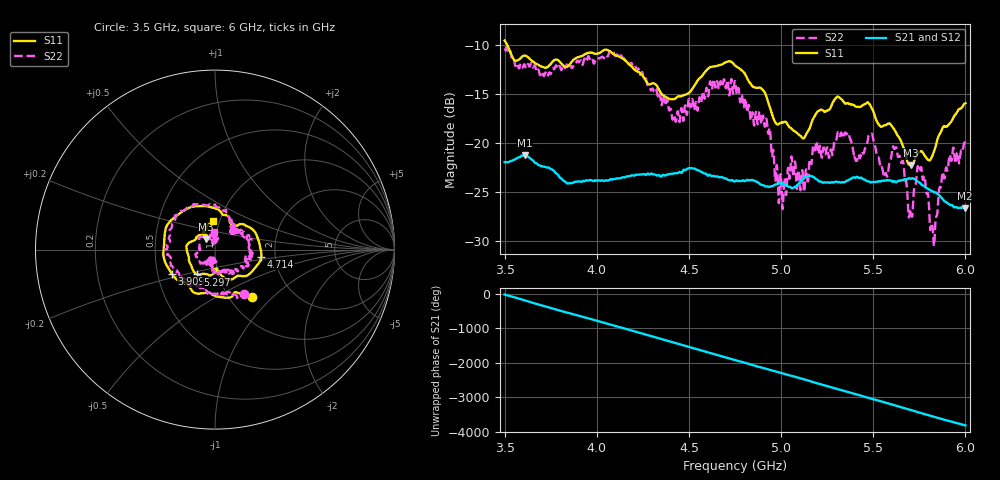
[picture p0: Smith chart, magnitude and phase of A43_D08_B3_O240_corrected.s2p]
! Created with skrf 1.9.0 (http://scikit-rf.org).
# Hz S RI R 50.0
!freq ReS11 ImS11 ReS21 ImS21 ReS12 ImS12 ReS22 ImS22
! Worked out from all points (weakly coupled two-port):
!   1601 points, 3.5 GHz to 6 GHz, reference 50 ohm
!   highest |S21| = -21.28 dB at 3.609 GHz (marker M1); lowest = -26.7 dB at 5.998 GHz (marker M2)
!   lowest |S11| = -22.3 dB at 5.705 GHz (marker M3), VSWR 1.17, Z = 44.9 + j5.24 ohm
!   |S11| at or under -10 dB: 3.514 GHz to end of sweep
!   |S22| runs from -30.6 to -10.2 dB; largest |S21 - S12| = 0.00099
!   S11 on the Smith chart (normalised r, x): 3.5 GHz: 1.27, -0.75; 3.909 GHz: 0.59, -0.17; 4.714 GHz: 1.69, -0.14; 5.297 GHz: 0.79, -0.23; 6 GHz: 0.94, +0.31
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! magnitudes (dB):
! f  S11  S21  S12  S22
! 3.5 GHz  -9.5  -22.0  -22.0  -10.6
! 3.609 GHz  -11.1  -21.3  -21.3  -12.0
! 3.909 GHz  -11.2  -23.9  -23.9  -11.6
! 3.917 GHz  -11.1  -24.0  -24.0  -11.7
! 4.081 GHz  -10.8  -23.8  -23.7  -10.9
! 4.334 GHz  -14.5  -23.3  -23.3  -15.2
! 4.42 GHz  -15.5  -23.1  -23.1  -17.2
! 4.714 GHz  -11.7  -23.8  -23.8  -14.3
! 4.75 GHz  -12.1  -23.9  -23.9  -13.7
! 4.928 GHz  -15.7  -24.4  -24.4  -18.8
! 4.998 GHz  -18.0  -24.2  -24.2  -23.2
! 5.167 GHz  -17.8  -23.4  -23.4  -21.7
! 5.297 GHz  -15.4  -24.0  -23.9  -19.8
! 5.487 GHz  -16.3  -24.1  -24.0  -19.1
! 5.584 GHz  -18.0  -23.8  -23.8  -22.4
! 5.653 GHz  -19.9  -23.8  -23.8  -22.1
! 5.705 GHz  -22.3  -23.7  -23.7  -27.1
! 5.752 GHz  -20.9  -24.1  -24.1  -22.9
! 5.823 GHz  -21.2  -25.0  -24.9  -28.9
! 5.884 GHz  -18.3  -25.9  -25.9  -23.7
! 5.998 GHz  -16.0  -26.7  -26.6  -20.0
! 6 GHz  -16.0  -26.7  -26.6  -20.1
